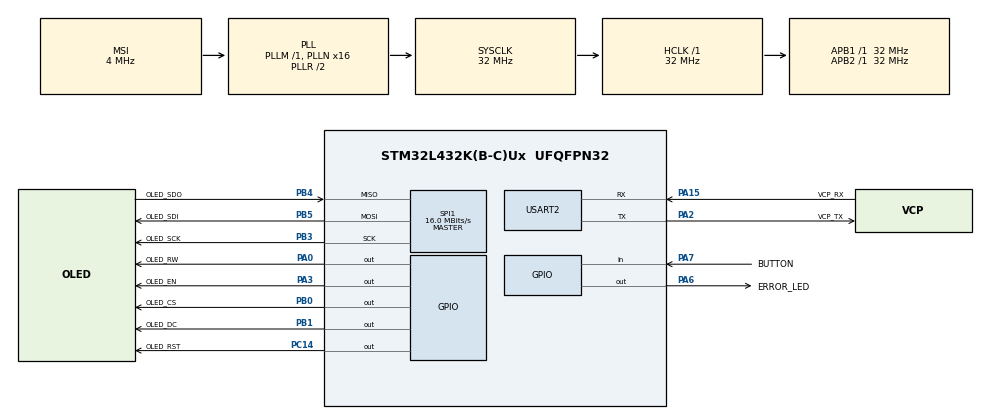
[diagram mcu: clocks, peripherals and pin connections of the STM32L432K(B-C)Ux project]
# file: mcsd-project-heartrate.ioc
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Mcu.Family=STM32L4
Mcu.Name=STM32L432K(B-C)Ux
Mcu.Package=UFQFPN32
NVIC.PriorityGroup=NVIC_PRIORITYGROUP_4
NVIC.SPI1_IRQn=true\:0\:0\:false\:false\:true\:true\:true\:true
NVIC.TIM6_DAC_IRQn=true\:0\:0\:false\:false\:true\:true\:true\:true
NVIC.USART2_IRQn=true\:0\:0\:false\:false\:true\:true\:true\:true
PA0.GPIO_Label=OLED_RW
PA0.Signal=GPIO_Output
PA13\ (JTMS-SWDIO).GPIO_Label=SWDIO
PA13\ (JTMS-SWDIO).Mode=Serial_Wire
PA13\ (JTMS-SWDIO).Signal=SYS_JTMS-SWDIO
PA14\ (JTCK-SWCLK).GPIO_Label=SWCLK
PA14\ (JTCK-SWCLK).Mode=Serial_Wire
PA14\ (JTCK-SWCLK).Signal=SYS_JTCK-SWCLK
PA15\ (JTDI).GPIO_Label=VCP_RX
PA15\ (JTDI).Mode=Asynchronous
PA15\ (JTDI).Signal=USART2_RX
PA2.GPIO_Label=VCP_TX
PA2.Mode=Asynchronous
PA2.Signal=USART2_TX
PA3.GPIO_Label=OLED_EN
PA3.Signal=GPIO_Output
PA6.GPIO_Label=ERROR_LED
PA6.Signal=GPIO_Output
PA7.GPIO_Label=BUTTON
PA7.Signal=GPIO_Input
PB0.GPIO_Label=OLED_CS
PB0.Signal=GPIO_Output
PB1.GPIO_Label=OLED_DC
PB1.Signal=GPIO_Output
PB3\ (JTDO-TRACESWO).GPIO_Label=OLED_SCK
PB3\ (JTDO-TRACESWO).Mode=Full_Duplex_Master
PB3\ (JTDO-TRACESWO).Signal=SPI1_SCK
PB4\ (NJTRST).GPIO_Label=OLED_SDO
PB4\ (NJTRST).Mode=Full_Duplex_Master
PB4\ (NJTRST).Signal=SPI1_MISO
PB5.GPIO_Label=OLED_SDI
PB5.Mode=Full_Duplex_Master
PB5.Signal=SPI1_MOSI
PC14-OSC32_IN\ (PC14).GPIO_Label=OLED_RST
PC14-OSC32_IN\ (PC14).PinState=GPIO_PIN_SET
PC14-OSC32_IN\ (PC14).Signal=GPIO_Output
PC15-OSC32_OUT\ (PC15).Signal=RCC_OSC32_OUT
ProjectManager.HeapSize=0x200
ProjectManager.StackSize=0x400
ProjectManager.TargetToolchain=STM32CubeIDE
RCC.AHBFreq_Value=32000000
RCC.APB1Freq_Value=32000000
RCC.APB1TimFreq_Value=32000000
RCC.APB2Freq_Value=32000000
RCC.APB2TimFreq_Value=32000000
RCC.CortexFreq_Value=32000000
RCC.HCLKFreq_Value=32000000
RCC.HSE_VALUE=8000000
RCC.HSI16_VALUE=16000000
RCC.HSI48_VALUE=48000000
RCC.HSI_VALUE=16000000
RCC.LSE_VALUE=32768
RCC.MSI_VALUE=4000000
RCC.PLLMUL=RCC_PLLMUL_4
RCC.PLLN=16
RCC.SYSCLKFreq_VALUE=32000000
RCC.SYSCLKSource=RCC_SYSCLKSOURCE_PLLCLK
RCC.VCOOutputFreq_Value=64000000
SPI1.CLKPhase=SPI_PHASE_2EDGE
SPI1.CLKPolarity=SPI_POLARITY_HIGH
SPI1.CalculateBaudRate=16.0 MBits/s
SPI1.DataSize=SPI_DATASIZE_8BIT
SPI1.Direction=SPI_DIRECTION_2LINES
SPI1.Mode=SPI_MODE_MASTER
SPI1.VirtualType=VM_MASTER
TIM6.AutoReloadPreload=TIM_AUTORELOAD_PRELOAD_ENABLE
TIM6.Period=999
TIM6.Prescaler=31999
USART2.VirtualMode-Asynchronous=VM_ASYNC
VP_TIM6_VS_ClockSourceINT.Mode=Enable_Timer
board=NUCLEO-L432KC

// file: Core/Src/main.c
/* USER CODE BEGIN Header */
/**
  ******************************************************************************
  * @file           : main.c
  * @brief          : Main program body
  ******************************************************************************
  * @attention
  *
  * Copyright (c) 2023 STMicroelectronics.
  * All rights reserved.
  *
  * This software is licensed under terms that can be found in the LICENSE file
  * in the root directory of this software component.
  * If no LICENSE file comes with this software, it is provided AS-IS.
  *
  ******************************************************************************
  */
/* USER CODE END Header */
#include "main.h"

/* USER CODE BEGIN PD */
#define RECBUF 1							// number of bytes for UART receiving buffer
#define FRAMELEN 28							// frame length and max. message length
#define MYEOF '\n'							// end-of-frame

/* USER CODE END PD */

SPI_HandleTypeDef hspi1;

TIM_HandleTypeDef htim6;

UART_HandleTypeDef huart2;

/* USER CODE BEGIN PV */
bool eof_bool = false;
static oledc_t oledc;
uint8_t rec_byte;											// buffer for UART receive
uint8_t receive_frame[FRAMELEN];							// string for UART received messages
uint8_t receive_frame_copy[FRAMELEN];
uint8_t frame_index = 0;

/* USER CODE END PV */

void SystemClock_Config(void);
static void MX_GPIO_Init(void);
static void MX_USART2_UART_Init(void);
static void MX_SPI1_Init(void);
static void MX_TIM6_Init(void);

/* USER CODE BEGIN PFP */
void receive();
/* USER CODE END PFP */

int main(void)
{

  /* MCU Configuration--------------------------------------------------------*/

  /* Reset of all peripherals, Initializes the Flash interface and the Systick. */
  HAL_Init();

  /* Configure the system clock */
  SystemClock_Config();

  /* Initialize all configured peripherals */
  MX_GPIO_Init();
  MX_USART2_UART_Init();
  MX_SPI1_Init();
  MX_TIM6_Init();
  /* USER CODE BEGIN 2 */
oledc_default_cfg(&hspi1);
oledc_start_screen(true, &oledc, &hspi1);
//strcpy((char*)receive_frame_copy, (char*)text1);
HAL_GPIO_WritePin(GPIOA, ERROR_LED_Pin, GPIO_PIN_SET);

  /* USER CODE END 2 */

  /* Infinite loop */
  /* USER CODE BEGIN WHILE */
  while (1)
  {

	  while (!HAL_GPIO_ReadPin(GPIOA, GPIO_PIN_7)) {
		  if (!button_debounce())
			  break;
		  }

	  receive();
	  oledc_update_number(&oledc, receive_frame, &hspi1, &htim6);

//	  oledc_error_message(&oledc, &hspi1);
//	  HAL_Delay(2000);
//	  oledc_start_screen(false, &oledc, &hspi1);
//
//	  HAL_Delay(2000);
//	  oledc_change_mode(&oledc, receive_frame, (uint8_t*)"PULSE", &hspi1);
//
//	  HAL_Delay(2000);
//	  oledc_change_mode(&oledc, receive_frame, (uint8_t*)"OXYGEN", &hspi1);

//	  oledc_rectangle (40, 40, 70, 70, 0xF800, &hspi1);
//	  oledc_text(&oledc, text1, 40, 40, &hspi1);
//	  HAL_Delay(2000);
//	  oledc_rectangle (40, 40, 70, 70, 0xF800, &hspi1);
//	  oledc_text(&oledc, text3, 40, 40, &hspi1);
//	  HAL_Delay(2000);

    /* USER CODE END WHILE */

  }
}

void SystemClock_Config(void)
{
  RCC_OscInitTypeDef RCC_OscInitStruct = {0};
  RCC_ClkInitTypeDef RCC_ClkInitStruct = {0};

  /** Configure the main internal regulator output voltage
  */
  if (HAL_PWREx_ControlVoltageScaling(PWR_REGULATOR_VOLTAGE_SCALE1) != HAL_OK)
  {
    Error_Handler();
  }

  /** Initializes the RCC Oscillators according to the specified parameters
  * in the RCC_OscInitTypeDef structure.
  */
  RCC_OscInitStruct.OscillatorType = RCC_OSCILLATORTYPE_MSI;
  RCC_OscInitStruct.MSIState = RCC_MSI_ON;
  RCC_OscInitStruct.MSICalibrationValue = 0;
  RCC_OscInitStruct.MSIClockRange = RCC_MSIRANGE_6;
  RCC_OscInitStruct.PLL.PLLState = RCC_PLL_ON;
  RCC_OscInitStruct.PLL.PLLSource = RCC_PLLSOURCE_MSI;
  RCC_OscInitStruct.PLL.PLLM = 1;
  RCC_OscInitStruct.PLL.PLLN = 16;
  RCC_OscInitStruct.PLL.PLLP = RCC_PLLP_DIV7;
  RCC_OscInitStruct.PLL.PLLQ = RCC_PLLQ_DIV2;
  RCC_OscInitStruct.PLL.PLLR = RCC_PLLR_DIV2;
  if (HAL_RCC_OscConfig(&RCC_OscInitStruct) != HAL_OK)
  {
    Error_Handler();
  }

  /** Initializes the CPU, AHB and APB buses clocks
  */
  RCC_ClkInitStruct.ClockType = RCC_CLOCKTYPE_HCLK|RCC_CLOCKTYPE_SYSCLK
                              |RCC_CLOCKTYPE_PCLK1|RCC_CLOCKTYPE_PCLK2;
  RCC_ClkInitStruct.SYSCLKSource = RCC_SYSCLKSOURCE_PLLCLK;
  RCC_ClkInitStruct.AHBCLKDivider = RCC_SYSCLK_DIV1;
  RCC_ClkInitStruct.APB1CLKDivider = RCC_HCLK_DIV1;
  RCC_ClkInitStruct.APB2CLKDivider = RCC_HCLK_DIV1;

  if (HAL_RCC_ClockConfig(&RCC_ClkInitStruct, FLASH_LATENCY_1) != HAL_OK)
  {
    Error_Handler();
  }
}

static void MX_SPI1_Init(void)
{

  /* SPI1 parameter configuration*/
  hspi1.Instance = SPI1;
  hspi1.Init.Mode = SPI_MODE_MASTER;
  hspi1.Init.Direction = SPI_DIRECTION_2LINES;
  hspi1.Init.DataSize = SPI_DATASIZE_8BIT;
  hspi1.Init.CLKPolarity = SPI_POLARITY_HIGH;
  hspi1.Init.CLKPhase = SPI_PHASE_2EDGE;
  hspi1.Init.NSS = SPI_NSS_SOFT;
  hspi1.Init.BaudRatePrescaler = SPI_BAUDRATEPRESCALER_2;
  hspi1.Init.FirstBit = SPI_FIRSTBIT_MSB;
  hspi1.Init.TIMode = SPI_TIMODE_DISABLE;
  hspi1.Init.CRCCalculation = SPI_CRCCALCULATION_DISABLE;
  hspi1.Init.CRCPolynomial = 7;
  hspi1.Init.CRCLength = SPI_CRC_LENGTH_DATASIZE;
  hspi1.Init.NSSPMode = SPI_NSS_PULSE_DISABLE;
  if (HAL_SPI_Init(&hspi1) != HAL_OK)
  {
    Error_Handler();
  }

}

static void MX_TIM6_Init(void)
{

  TIM_MasterConfigTypeDef sMasterConfig = {0};

  htim6.Instance = TIM6;
  htim6.Init.Prescaler = 31999;
  htim6.Init.CounterMode = TIM_COUNTERMODE_UP;
  htim6.Init.Period = 999;
  htim6.Init.AutoReloadPreload = TIM_AUTORELOAD_PRELOAD_ENABLE;
  if (HAL_TIM_Base_Init(&htim6) != HAL_OK)
  {
    Error_Handler();
  }
  sMasterConfig.MasterOutputTrigger = TIM_TRGO_RESET;
  sMasterConfig.MasterSlaveMode = TIM_MASTERSLAVEMODE_DISABLE;
  if (HAL_TIMEx_MasterConfigSynchronization(&htim6, &sMasterConfig) != HAL_OK)
  {
    Error_Handler();
  }

}

static void MX_USART2_UART_Init(void)
{

  huart2.Instance = USART2;
  huart2.Init.BaudRate = 115200;
  huart2.Init.WordLength = UART_WORDLENGTH_8B;
  huart2.Init.StopBits = UART_STOPBITS_1;
  huart2.Init.Parity = UART_PARITY_NONE;
  huart2.Init.Mode = UART_MODE_TX_RX;
  huart2.Init.HwFlowCtl = UART_HWCONTROL_NONE;
  huart2.Init.OverSampling = UART_OVERSAMPLING_16;
  huart2.Init.OneBitSampling = UART_ONE_BIT_SAMPLE_DISABLE;
  huart2.AdvancedInit.AdvFeatureInit = UART_ADVFEATURE_NO_INIT;
  if (HAL_UART_Init(&huart2) != HAL_OK)
  {
    Error_Handler();
  }

}

static void MX_GPIO_Init(void)
{
  GPIO_InitTypeDef GPIO_InitStruct = {0};

  /* GPIO Ports Clock Enable */
  __HAL_RCC_GPIOC_CLK_ENABLE();
  __HAL_RCC_GPIOA_CLK_ENABLE();
  __HAL_RCC_GPIOB_CLK_ENABLE();

  /*Configure GPIO pin Output Level */
  HAL_GPIO_WritePin(OLED_RST_GPIO_Port, OLED_RST_Pin, GPIO_PIN_SET);

  /*Configure GPIO pin Output Level */
  HAL_GPIO_WritePin(GPIOA, OLED_RW_Pin|OLED_EN_Pin|ERROR_LED_Pin, GPIO_PIN_RESET);

  /*Configure GPIO pin Output Level */
  HAL_GPIO_WritePin(GPIOB, OLED_CS_Pin|OLED_DC_Pin, GPIO_PIN_RESET);

  /*Configure GPIO pin : OLED_RST_Pin */
  GPIO_InitStruct.Pin = OLED_RST_Pin;
  GPIO_InitStruct.Mode = GPIO_MODE_OUTPUT_PP;
  GPIO_InitStruct.Pull = GPIO_NOPULL;
  GPIO_InitStruct.Speed = GPIO_SPEED_FREQ_LOW;
  HAL_GPIO_Init(OLED_RST_GPIO_Port, &GPIO_InitStruct);

  /*Configure GPIO pins : OLED_RW_Pin OLED_EN_Pin ERROR_LED_Pin */
  GPIO_InitStruct.Pin = OLED_RW_Pin|OLED_EN_Pin|ERROR_LED_Pin;
  GPIO_InitStruct.Mode = GPIO_MODE_OUTPUT_PP;
  GPIO_InitStruct.Pull = GPIO_NOPULL;
  GPIO_InitStruct.Speed = GPIO_SPEED_FREQ_LOW;
  HAL_GPIO_Init(GPIOA, &GPIO_InitStruct);

  /*Configure GPIO pin : BUTTON_Pin */
  GPIO_InitStruct.Pin = BUTTON_Pin;
  GPIO_InitStruct.Mode = GPIO_MODE_INPUT;
  GPIO_InitStruct.Pull = GPIO_NOPULL;
  HAL_GPIO_Init(BUTTON_GPIO_Port, &GPIO_InitStruct);

  /*Configure GPIO pins : OLED_CS_Pin OLED_DC_Pin */
  GPIO_InitStruct.Pin = OLED_CS_Pin|OLED_DC_Pin;
  GPIO_InitStruct.Mode = GPIO_MODE_OUTPUT_PP;
  GPIO_InitStruct.Pull = GPIO_NOPULL;
  GPIO_InitStruct.Speed = GPIO_SPEED_FREQ_LOW;
  HAL_GPIO_Init(GPIOB, &GPIO_InitStruct);

}

/* USER CODE BEGIN 4 */
/**
 * @brief	UART receive blocking function.
 * 			Sourced from class homework "UART Task" by David Oberleitner.
 * 			Used for testing OLED module alone.
 * @param	None
 * @retval	None
 */
void receive() {
	while (eof_bool == false) {
		if (HAL_UART_Receive_IT (&huart2, &rec_byte, RECBUF) == HAL_ERROR) {									// read
			Error_Handler();
		}
	}
	eof_bool = false;
}

/**
 * @brief 	UART receiving callback function. Copies each received byte into string "receive_frame".
 * 			Upon receiving end-of-frame "MYEOF" puts string terminator.
 * 			Sourced from class homework "UART Task" by David Oberleitner.
 * 			Used for testing OLED module alone.
 * @param 	huart: 	UART handle.
 * @retval	None
 */
void HAL_UART_RxCpltCallback(UART_HandleTypeDef *huart) {
	if (huart == &huart2) {
		receive_frame[frame_index] = rec_byte;

		if (frame_index == FRAMELEN) {
			frame_index = 0;
		}
		frame_index++;

		if (rec_byte == MYEOF) {
			receive_frame[frame_index] = '\0';
			frame_index = 0;
			eof_bool = true;
		}
	}
}

/**
 * @brief	Function toggles error led, making it blink.
 * @param	htim: Timer handle
 * @retval	None
 */
void HAL_TIM_PeriodElapsedCallback(TIM_HandleTypeDef *htim) {
	HAL_GPIO_TogglePin(GPIOA, ERROR_LED_Pin);
}

/* USER CODE END 4 */

void Error_Handler(void)
{
  __disable_irq();
  while (1)
  {
  }
}
